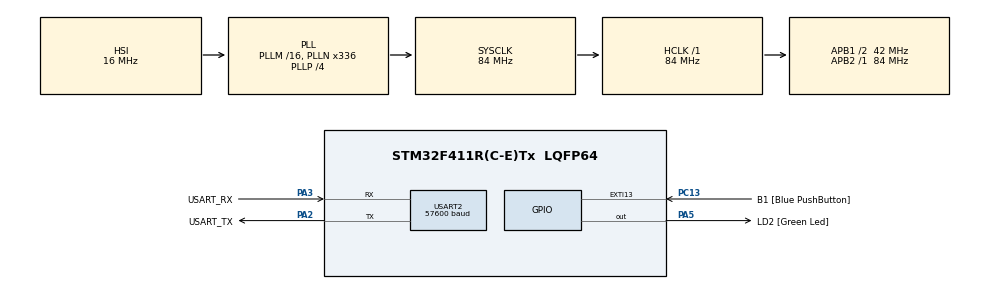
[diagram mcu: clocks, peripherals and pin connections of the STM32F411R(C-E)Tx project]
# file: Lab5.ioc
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Mcu.Family=STM32F4
Mcu.Name=STM32F411R(C-E)Tx
Mcu.Package=LQFP64
NVIC.PriorityGroup=NVIC_PRIORITYGROUP_0
NVIC.USART2_IRQn=true\:0\:0\:false\:false\:true\:true\:true\:true
PA13.GPIO_Label=TMS
PA13.Mode=Serial_Wire
PA13.Signal=SYS_JTMS-SWDIO
PA14.GPIO_Label=TCK
PA14.Mode=Serial_Wire
PA14.Signal=SYS_JTCK-SWCLK
PA2.GPIO_Label=USART_TX
PA2.Mode=Asynchronous
PA2.Signal=USART2_TX
PA3.GPIO_Label=USART_RX
PA3.Mode=Asynchronous
PA3.Signal=USART2_RX
PA5.GPIO_Label=LD2 [Green Led]
PA5.Signal=GPIO_Output
PB3.GPIO_Label=SWO
PB3.Signal=SYS_JTDO-SWO
PC13-ANTI_TAMP.GPIO_Label=B1 [Blue PushButton]
PC13-ANTI_TAMP.GPIO_ModeDefaultEXTI=GPIO_MODE_IT_FALLING
PC13-ANTI_TAMP.Signal=GPXTI13
PC14-OSC32_IN.Mode=LSE-External-Oscillator
PC14-OSC32_IN.Signal=RCC_OSC32_IN
PC15-OSC32_OUT.Mode=LSE-External-Oscillator
PC15-OSC32_OUT.Signal=RCC_OSC32_OUT
PH0\ -\ OSC_IN.Mode=HSE-External-Clock-Source
PH0\ -\ OSC_IN.Signal=RCC_OSC_IN
PH1\ -\ OSC_OUT.Mode=HSE-External-Clock-Source
PH1\ -\ OSC_OUT.Signal=RCC_OSC_OUT
ProjectManager.HeapSize=0x200
ProjectManager.StackSize=0x400
ProjectManager.TargetToolchain=STM32CubeIDE
RCC.48MHZClocksFreq_Value=84000000
RCC.AHBFreq_Value=84000000
RCC.APB1CLKDivider=RCC_HCLK_DIV2
RCC.APB1Freq_Value=42000000
RCC.APB1TimFreq_Value=84000000
RCC.APB2Freq_Value=84000000
RCC.APB2TimFreq_Value=84000000
RCC.CortexFreq_Value=84000000
RCC.FLatency-AdvancedSettings=FLASH_LATENCY_2
RCC.HCLKFreq_Value=84000000
RCC.HSE_VALUE=8000000
RCC.HSI_VALUE=16000000
RCC.PLLN=336
RCC.PLLP=RCC_PLLP_DIV4
RCC.SYSCLKFreq_VALUE=84000000
RCC.SYSCLKSource=RCC_SYSCLKSOURCE_PLLCLK
RCC.VCOOutputFreq_Value=336000000
USART2.BaudRate=57600
USART2.VirtualMode=VM_ASYNC
board=NUCLEO-F411RE

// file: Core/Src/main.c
/* USER CODE BEGIN Header */
/**
  ******************************************************************************
  * @file           : main.c
  * @brief          : Main program body
  ******************************************************************************
  * @attention
  *
  * Copyright (c) 2023 STMicroelectronics.
  * All rights reserved.
  *
  * This software is licensed under terms that can be found in the LICENSE file
  * in the root directory of this software component.
  * If no LICENSE file comes with this software, it is provided AS-IS.
  *
  ******************************************************************************
  */
/* USER CODE END Header */
#include "main.h"

/* USER CODE BEGIN Includes */
#include "stdio.h"
#include "string.h"
/* USER CODE END Includes */

UART_HandleTypeDef huart2;

/* USER CODE BEGIN PV */
uint8_t RxBuffer[1];
uint8_t TxBuffer[100];

uint8_t HOME = 0;
uint8_t LED = 0;
uint8_t BUTTON = 0;
uint8_t WRONGINPUT = 0;
uint8_t Hz = 1;
uint8_t LEDOnOff = 1;
uint8_t B4Button;

char On[] = "On";
char Off[] = "Off";
char OnOff[10];
char Pressed[] = "Pressed";
char Unpressed[] = "Unpressed";
char PressedUN[11]= "Unpressed";

enum Nameofstate {Home,Led,Button,WrongInput};
uint8_t page = 0;
/* USER CODE END PV */

void SystemClock_Config(void);
static void MX_GPIO_Init(void);
static void MX_USART2_UART_Init(void);
/* USER CODE BEGIN PFP */

void DummyTask();
void UARTInterruptConfig();
/* USER CODE END PFP */

int main(void)
{

  /* MCU Configuration--------------------------------------------------------*/

  /* Reset of all peripherals, Initializes the Flash interface and the Systick. */
  HAL_Init();

  /* Configure the system clock */
  SystemClock_Config();

  /* Initialize all configured peripherals */
  MX_GPIO_Init();
  MX_USART2_UART_Init();
  /* USER CODE BEGIN 2 */

 UARTInterruptConfig();
  /* USER CODE END 2 */

  /* Infinite loop */
  /* USER CODE BEGIN WHILE */
  while (1)
  {

	  //DummyTask();
    /* USER CODE END WHILE */

    /* USER CODE BEGIN 3 */
	switch (page){
	case Home:
		if(HOME == 0){
			HOME = 1;
			LED = 0;
			BUTTON = 0;
			WRONGINPUT = 0;
			RxBuffer[0] = 0;
			sprintf((char*)TxBuffer,"\r\n\n\n\n\n");
			HAL_UART_Transmit(&huart2, TxBuffer, strlen((char*)TxBuffer), 50);
			sprintf((char*)TxBuffer,"LAB5 64340500072\r\nWelcome to my home page\r\n");
			HAL_UART_Transmit(&huart2, TxBuffer, strlen((char*)TxBuffer), 50);
			sprintf((char*)TxBuffer,"Please press button that is shown below to access to other function\r\n");
			HAL_UART_Transmit(&huart2, TxBuffer, strlen((char*)TxBuffer), 50);
			sprintf((char*)TxBuffer,"------------------------------------------\r\n");
			HAL_UART_Transmit(&huart2, TxBuffer, strlen((char*)TxBuffer), 50);
			sprintf((char*)TxBuffer,"\r\n");
			HAL_UART_Transmit(&huart2, TxBuffer, strlen((char*)TxBuffer), 50);
			sprintf((char*)TxBuffer,"[1] LED\r\n");
			HAL_UART_Transmit(&huart2, TxBuffer, strlen((char*)TxBuffer), 50);
			sprintf((char*)TxBuffer,"[2] Button\r\n");
			HAL_UART_Transmit(&huart2, TxBuffer, strlen((char*)TxBuffer), 50);
			sprintf((char*)TxBuffer,"------------------------------------------\r\n");
			HAL_UART_Transmit(&huart2, TxBuffer, strlen((char*)TxBuffer), 50);
		}

		if(RxBuffer[0] == 49) page = Led;
		if(RxBuffer[0] == 50) page = Button;
		else if(RxBuffer[0] != 49 && RxBuffer[0] != 50 && RxBuffer[0] != 0) page = WrongInput;
		break;
	case Led:
		if(LED == 0){
			HOME = 0;
			LED = 1;
			BUTTON = 0;
			WRONGINPUT = 0;
			RxBuffer[0] = 0;
			sprintf((char*)TxBuffer,"\r\n\n\n");
			HAL_UART_Transmit(&huart2, TxBuffer, strlen((char*)TxBuffer), 50);
			sprintf((char*)TxBuffer,"LED Control\r\n");
			HAL_UART_Transmit(&huart2, TxBuffer, strlen((char*)TxBuffer), 50);
			sprintf((char*)TxBuffer,"LED is now %s blinking - %d Hz (MAX-20, MIN-0)\r\n", OnOff , Hz);
			HAL_UART_Transmit(&huart2, TxBuffer, strlen((char*)TxBuffer), 50);
			sprintf((char*)TxBuffer,"------------------------------------------\r\n");
			HAL_UART_Transmit(&huart2, TxBuffer, strlen((char*)TxBuffer), 50);
			sprintf((char*)TxBuffer,"[q] On/Off \r\n");
			HAL_UART_Transmit(&huart2, TxBuffer, strlen((char*)TxBuffer), 50);
			sprintf((char*)TxBuffer,"[w] + 1 Hz\r\n");
			HAL_UART_Transmit(&huart2, TxBuffer, strlen((char*)TxBuffer), 50);
			sprintf((char*)TxBuffer,"[e] - 1 Hz\r\n");
			HAL_UART_Transmit(&huart2, TxBuffer, strlen((char*)TxBuffer), 50);
			sprintf((char*)TxBuffer,"[0] HOME\r\n");
			HAL_UART_Transmit(&huart2, TxBuffer, strlen((char*)TxBuffer), 50);
			sprintf((char*)TxBuffer,"------------------------------------------\r\n");
			HAL_UART_Transmit(&huart2, TxBuffer, strlen((char*)TxBuffer), 50);
		}
		else if(RxBuffer[0] == 48) page = Home;
		else if(RxBuffer[0] == 113){                //q
			if(LEDOnOff == 1) LEDOnOff = 0;
			else if(LEDOnOff == 0) LEDOnOff = 1;
			LED = 0;
			RxBuffer[0] = 0;
		}
		else if(RxBuffer[0] == 119){                //w
			Hz = Hz + 1;
			LED = 0;   // for return to Led case
			if(Hz > 20) Hz =20;
			RxBuffer[0] = 0;
		}
		else if(RxBuffer[0] == 101) {
			Hz = Hz - 1;
			LED = 0;   //e
			if(Hz < 0) Hz = 0;
			RxBuffer[0] = 0;
		}
		else if(RxBuffer[0] != 48 && RxBuffer[0] != 101 && RxBuffer[0] != 113 && RxBuffer[0] != 119 && RxBuffer[0] != 0) page = WrongInput;
		break;
	case Button:
			if(BUTTON == 0){
				HOME = 0;
				LED = 0;
				BUTTON = 1;
				WRONGINPUT = 0;
				RxBuffer[0] = 0;
				sprintf((char*)TxBuffer,"\r\n\n\n");
				HAL_UART_Transmit(&huart2, TxBuffer, strlen((char*)TxBuffer), 50);
				sprintf((char*)TxBuffer,"Button check\r\n");
				HAL_UART_Transmit(&huart2, TxBuffer, strlen((char*)TxBuffer), 50);
				sprintf((char*)TxBuffer,"Button is now %s  \r\n", PressedUN );
				HAL_UART_Transmit(&huart2, TxBuffer, strlen((char*)TxBuffer), 50);
				sprintf((char*)TxBuffer,"------------------------------------------\r\n");
				HAL_UART_Transmit(&huart2, TxBuffer, strlen((char*)TxBuffer), 50);
				sprintf((char*)TxBuffer,"\r\n");
				HAL_UART_Transmit(&huart2, TxBuffer, strlen((char*)TxBuffer), 50);
				sprintf((char*)TxBuffer,"\r\n");
				HAL_UART_Transmit(&huart2, TxBuffer, strlen((char*)TxBuffer), 50);
				sprintf((char*)TxBuffer,"\r\n");
				HAL_UART_Transmit(&huart2, TxBuffer, strlen((char*)TxBuffer), 50);
				sprintf((char*)TxBuffer,"[0] HOME\r\n");
				HAL_UART_Transmit(&huart2, TxBuffer, strlen((char*)TxBuffer), 50);
				sprintf((char*)TxBuffer,"------------------------------------------\r\n");
				HAL_UART_Transmit(&huart2, TxBuffer, strlen((char*)TxBuffer), 50);
			}
			else if(RxBuffer[0] == 48) page = Home;
			if(HAL_GPIO_ReadPin(GPIOC, GPIO_PIN_13) == 1 && B4Button == 0) {
				strcpy(PressedUN  , Unpressed) ;
				BUTTON = 0;   //e

			}
			else if(HAL_GPIO_ReadPin(GPIOC, GPIO_PIN_13) == 0 && B4Button == 1) {
				strcpy(PressedUN  , Pressed) ;
				BUTTON = 0;

			}
			else if(RxBuffer[0] != 48 && RxBuffer[0] != 0) page = WrongInput;
			break;
	case WrongInput:
			if(WRONGINPUT == 0){
				HOME = 0;
				LED = 0;
				BUTTON = 0;
				WRONGINPUT = 1;
				sprintf((char*)TxBuffer,"\r\n\n\n\n\n");
				HAL_UART_Transmit(&huart2, TxBuffer, strlen((char*)TxBuffer), 50);
				sprintf((char*)TxBuffer,"Wrong Input\r\nPlease return to home page\r\n");
				HAL_UART_Transmit(&huart2, TxBuffer, strlen((char*)TxBuffer), 50);
				sprintf((char*)TxBuffer,"\r\n");
				HAL_UART_Transmit(&huart2, TxBuffer, strlen((char*)TxBuffer), 50);
				sprintf((char*)TxBuffer,"------------------------------------------\r\n");
				HAL_UART_Transmit(&huart2, TxBuffer, strlen((char*)TxBuffer), 50);
				sprintf((char*)TxBuffer,"[0] HOME\r\n");
				HAL_UART_Transmit(&huart2, TxBuffer, strlen((char*)TxBuffer), 50);
				sprintf((char*)TxBuffer,"\r\n");
				HAL_UART_Transmit(&huart2, TxBuffer, strlen((char*)TxBuffer), 50);
				sprintf((char*)TxBuffer,"\r\n");
				HAL_UART_Transmit(&huart2, TxBuffer, strlen((char*)TxBuffer), 50);
				sprintf((char*)TxBuffer,"------------------------------------------\r\n");
				HAL_UART_Transmit(&huart2, TxBuffer, strlen((char*)TxBuffer), 50);
			}
			else if(RxBuffer[0] == 48) page = Home;
			break;
	}
	  if(LEDOnOff == 1 && Hz != 0){
			static uint32_t timestamp = 0;
			if(HAL_GetTick() > timestamp){
				timestamp = HAL_GetTick() + (500/Hz);
				HAL_GPIO_TogglePin(LD2_GPIO_Port, LD2_Pin);
				strcpy(OnOff , On) ;
			}

  }
	  else if(LEDOnOff == 0 || Hz == 0){
		  HAL_GPIO_WritePin(LD2_GPIO_Port, LD2_Pin , 0);
		  strcpy(OnOff , Off) ;
	  }
	  B4Button = HAL_GPIO_ReadPin(GPIOC, GPIO_PIN_13);
	  }

  /* USER CODE END 3 */
}

void SystemClock_Config(void)
{
  RCC_OscInitTypeDef RCC_OscInitStruct = {0};
  RCC_ClkInitTypeDef RCC_ClkInitStruct = {0};

  /** Configure the main internal regulator output voltage
  */
  __HAL_RCC_PWR_CLK_ENABLE();
  __HAL_PWR_VOLTAGESCALING_CONFIG(PWR_REGULATOR_VOLTAGE_SCALE1);

  /** Initializes the RCC Oscillators according to the specified parameters
  * in the RCC_OscInitTypeDef structure.
  */
  RCC_OscInitStruct.OscillatorType = RCC_OSCILLATORTYPE_HSI;
  RCC_OscInitStruct.HSIState = RCC_HSI_ON;
  RCC_OscInitStruct.HSICalibrationValue = RCC_HSICALIBRATION_DEFAULT;
  RCC_OscInitStruct.PLL.PLLState = RCC_PLL_ON;
  RCC_OscInitStruct.PLL.PLLSource = RCC_PLLSOURCE_HSI;
  RCC_OscInitStruct.PLL.PLLM = 16;
  RCC_OscInitStruct.PLL.PLLN = 336;
  RCC_OscInitStruct.PLL.PLLP = RCC_PLLP_DIV4;
  RCC_OscInitStruct.PLL.PLLQ = 4;
  if (HAL_RCC_OscConfig(&RCC_OscInitStruct) != HAL_OK)
  {
    Error_Handler();
  }

  /** Initializes the CPU, AHB and APB buses clocks
  */
  RCC_ClkInitStruct.ClockType = RCC_CLOCKTYPE_HCLK|RCC_CLOCKTYPE_SYSCLK
                              |RCC_CLOCKTYPE_PCLK1|RCC_CLOCKTYPE_PCLK2;
  RCC_ClkInitStruct.SYSCLKSource = RCC_SYSCLKSOURCE_PLLCLK;
  RCC_ClkInitStruct.AHBCLKDivider = RCC_SYSCLK_DIV1;
  RCC_ClkInitStruct.APB1CLKDivider = RCC_HCLK_DIV2;
  RCC_ClkInitStruct.APB2CLKDivider = RCC_HCLK_DIV1;

  if (HAL_RCC_ClockConfig(&RCC_ClkInitStruct, FLASH_LATENCY_2) != HAL_OK)
  {
    Error_Handler();
  }
}

static void MX_USART2_UART_Init(void)
{

  huart2.Instance = USART2;
  huart2.Init.BaudRate = 57600;
  huart2.Init.WordLength = UART_WORDLENGTH_8B;
  huart2.Init.StopBits = UART_STOPBITS_1;
  huart2.Init.Parity = UART_PARITY_NONE;
  huart2.Init.Mode = UART_MODE_TX_RX;
  huart2.Init.HwFlowCtl = UART_HWCONTROL_NONE;
  huart2.Init.OverSampling = UART_OVERSAMPLING_16;
  if (HAL_UART_Init(&huart2) != HAL_OK)
  {
    Error_Handler();
  }

}

static void MX_GPIO_Init(void)
{
  GPIO_InitTypeDef GPIO_InitStruct = {0};

  /* GPIO Ports Clock Enable */
  __HAL_RCC_GPIOC_CLK_ENABLE();
  __HAL_RCC_GPIOH_CLK_ENABLE();
  __HAL_RCC_GPIOA_CLK_ENABLE();
  __HAL_RCC_GPIOB_CLK_ENABLE();

  /*Configure GPIO pin Output Level */
  HAL_GPIO_WritePin(LD2_GPIO_Port, LD2_Pin, GPIO_PIN_RESET);

  /*Configure GPIO pin : B1_Pin */
  GPIO_InitStruct.Pin = B1_Pin;
  GPIO_InitStruct.Mode = GPIO_MODE_IT_FALLING;
  GPIO_InitStruct.Pull = GPIO_NOPULL;
  HAL_GPIO_Init(B1_GPIO_Port, &GPIO_InitStruct);

  /*Configure GPIO pin : LD2_Pin */
  GPIO_InitStruct.Pin = LD2_Pin;
  GPIO_InitStruct.Mode = GPIO_MODE_OUTPUT_PP;
  GPIO_InitStruct.Pull = GPIO_NOPULL;
  GPIO_InitStruct.Speed = GPIO_SPEED_FREQ_LOW;
  HAL_GPIO_Init(LD2_GPIO_Port, &GPIO_InitStruct);

}

/* USER CODE BEGIN 4 */

void DummyTask()
{
	static uint32_t timestamp=0;
	if(HAL_GetTick()>=timestamp)
	{
		timestamp = HAL_GetTick()+100;
		HAL_GPIO_TogglePin(LD2_GPIO_Port, LD2_Pin);
	}
}

void UARTInterruptConfig()
{
	HAL_UART_Receive_IT(&huart2, RxBuffer, 1); //interupt mode

}

void HAL_UART_RxCpltCallback(UART_HandleTypeDef *huart)
{
	if(huart ==&huart2)
	{
		HAL_UART_Receive_IT(&huart2, RxBuffer, 1); //recall Receive
	}
}
/* USER CODE END 4 */

void Error_Handler(void)
{
  __disable_irq();
  while (1)
  {
  }
}
